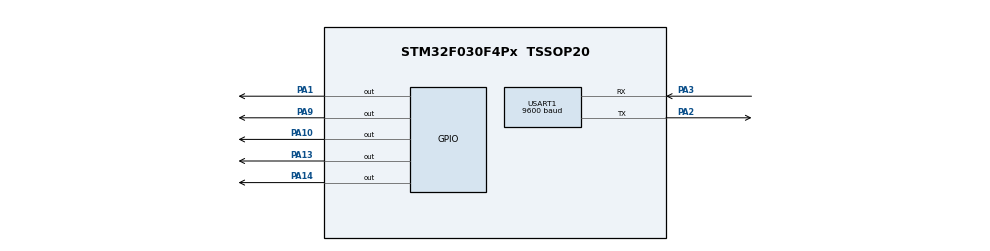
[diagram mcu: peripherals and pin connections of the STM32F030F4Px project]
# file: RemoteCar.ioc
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Mcu.Family=STM32F0
Mcu.Name=STM32F030F4Px
Mcu.Package=TSSOP20
PA1.Signal=GPIO_Output
PA10.Signal=GPIO_Output
PA13.Signal=GPIO_Output
PA14.Signal=GPIO_Output
PA2.Mode=Asynchronous
PA2.Signal=USART1_TX
PA3.Mode=Asynchronous
PA3.Signal=USART1_RX
PA9.Signal=GPIO_Output
ProjectManager.HeapSize=0x200
ProjectManager.StackSize=0x400
ProjectManager.TargetToolchain=SW4STM32
USART1.BaudRate=9600
USART1.Mode=MODE_RX
USART1.VirtualMode-Asynchronous=VM_ASYNC
board=custom

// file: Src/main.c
/* USER CODE BEGIN Header */
/**
 ******************************************************************************
 * @file           : main.c
 * @brief          : Main program body
 ******************************************************************************
 ** This notice applies to any and all portions of this file
 * that are not between comment pairs USER CODE BEGIN and
 * USER CODE END. Other portions of this file, whether
 * inserted by the user or by software development tools
 * are owned by their respective copyright owners.
 *
 * COPYRIGHT(c) 2018 STMicroelectronics
 *
 * Redistribution and use in source and binary forms, with or without modification,
 * are permitted provided that the following conditions are met:
 *   1. Redistributions of source code must retain the above copyright notice,
 *      this list of conditions and the following disclaimer.
 *   2. Redistributions in binary form must reproduce the above copyright notice,
 *      this list of conditions and the following disclaimer in the documentation
 *      and/or other materials provided with the distribution.
 *   3. Neither the name of STMicroelectronics nor the names of its contributors
 *      may be used to endorse or promote products derived from this software
 *      without specific prior written permission.
 *
 * THIS SOFTWARE IS PROVIDED BY THE COPYRIGHT HOLDERS AND CONTRIBUTORS "AS IS"
 * AND ANY EXPRESS OR IMPLIED WARRANTIES, INCLUDING, BUT NOT LIMITED TO, THE
 * IMPLIED WARRANTIES OF MERCHANTABILITY AND FITNESS FOR A PARTICULAR PURPOSE ARE
 * DISCLAIMED. IN NO EVENT SHALL THE COPYRIGHT HOLDER OR CONTRIBUTORS BE LIABLE
 * FOR ANY DIRECT, INDIRECT, INCIDENTAL, SPECIAL, EXEMPLARY, OR CONSEQUENTIAL
 * DAMAGES (INCLUDING, BUT NOT LIMITED TO, PROCUREMENT OF SUBSTITUTE GOODS OR
 * SERVICES; LOSS OF USE, DATA, OR PROFITS; OR BUSINESS INTERRUPTION) HOWEVER
 * CAUSED AND ON ANY THEORY OF LIABILITY, WHETHER IN CONTRACT, STRICT LIABILITY,
 * OR TORT (INCLUDING NEGLIGENCE OR OTHERWISE) ARISING IN ANY WAY OUT OF THE USE
 * OF THIS SOFTWARE, EVEN IF ADVISED OF THE POSSIBILITY OF SUCH DAMAGE.
 *
 ******************************************************************************
 */
/* USER CODE END Header */

#include "main.h"

/* USER CODE BEGIN PD */
#define fwd HAL_GPIO_WritePin(GPIOA, GPIO_PIN_14, 0);
#define rev HAL_GPIO_WritePin(GPIOA, GPIO_PIN_13, 0);
#define lft HAL_GPIO_WritePin(GPIOA, GPIO_PIN_10, 0);
#define rig HAL_GPIO_WritePin(GPIOA, GPIO_PIN_9, 0);

#define nfwd HAL_GPIO_WritePin(GPIOA, GPIO_PIN_14, 1);
#define nrev HAL_GPIO_WritePin(GPIOA, GPIO_PIN_13, 1);
#define nlft HAL_GPIO_WritePin(GPIOA, GPIO_PIN_10, 1);
#define nrig HAL_GPIO_WritePin(GPIOA, GPIO_PIN_9, 1);

/* USER CODE END PD */

UART_HandleTypeDef huart1;

/* USER CODE BEGIN PV */
uint8_t command;
uint8_t  i = 1;
/* USER CODE END PV */

void SystemClock_Config(void);
static void MX_GPIO_Init(void);
static void MX_USART1_UART_Init(void);

/* USER CODE BEGIN 0 */
void receive_command(void) {
	if (__HAL_UART_GET_FLAG(&huart1, UART_FLAG_RXNE) == SET) {
		HAL_UART_Receive(&huart1, &command, 1, 100);
		i = 1;
	}
}
/* USER CODE END 0 */

int main(void)
{

  /* MCU Configuration--------------------------------------------------------*/

  /* Reset of all peripherals, Initializes the Flash interface and the Systick. */
  HAL_Init();

  /* Configure the system clock */
  SystemClock_Config();

  /* Initialize all configured peripherals */
  MX_GPIO_Init();
  MX_USART1_UART_Init();
  /* USER CODE BEGIN 2 */
	nfwd
	;
	nrev
	;
	nlft
	;
	nrig
	;
  /* USER CODE END 2 */

  /* Infinite loop */
  /* USER CODE BEGIN WHILE */
	while (1) {
		i++;
		if(i>500){
			i = 1;
			//command = 0;
		}
		HAL_GPIO_WritePin(GPIOA, GPIO_PIN_1, GPIO_PIN_SET);
		receive_command();
		switch (command) {
		case 'W':
			fwd
			;
			break;
		case 'S':
			rev
			;
			break;
		case 'A':
			lft
			;
			break;
		case 'D':
			rig
			;
			break;
		case 'w':
			nfwd
			;
			break;
		case 's':
			nrev
			;
			break;

		case 'a':
			nlft
			;
			break;
		case 'd':
			nrig

			;
			break;
		case 0:
			nfwd
			;
			nrev
			;
			nlft
			;
			nrig
			;
			break;
		}
    /* USER CODE END WHILE */

	}
}

void SystemClock_Config(void)
{
  RCC_OscInitTypeDef RCC_OscInitStruct = {0};
  RCC_ClkInitTypeDef RCC_ClkInitStruct = {0};
  RCC_PeriphCLKInitTypeDef PeriphClkInit = {0};

  /** Initializes the CPU, AHB and APB busses clocks
  */
  RCC_OscInitStruct.OscillatorType = RCC_OSCILLATORTYPE_HSI;
  RCC_OscInitStruct.HSIState = RCC_HSI_ON;
  RCC_OscInitStruct.HSICalibrationValue = RCC_HSICALIBRATION_DEFAULT;
  RCC_OscInitStruct.PLL.PLLState = RCC_PLL_NONE;
  if (HAL_RCC_OscConfig(&RCC_OscInitStruct) != HAL_OK)
  {
    Error_Handler();
  }
  /** Initializes the CPU, AHB and APB busses clocks
  */
  RCC_ClkInitStruct.ClockType = RCC_CLOCKTYPE_HCLK|RCC_CLOCKTYPE_SYSCLK
                              |RCC_CLOCKTYPE_PCLK1;
  RCC_ClkInitStruct.SYSCLKSource = RCC_SYSCLKSOURCE_HSI;
  RCC_ClkInitStruct.AHBCLKDivider = RCC_SYSCLK_DIV1;
  RCC_ClkInitStruct.APB1CLKDivider = RCC_HCLK_DIV1;

  if (HAL_RCC_ClockConfig(&RCC_ClkInitStruct, FLASH_LATENCY_0) != HAL_OK)
  {
    Error_Handler();
  }
  PeriphClkInit.PeriphClockSelection = RCC_PERIPHCLK_USART1;
  PeriphClkInit.Usart1ClockSelection = RCC_USART1CLKSOURCE_PCLK1;
  if (HAL_RCCEx_PeriphCLKConfig(&PeriphClkInit) != HAL_OK)
  {
    Error_Handler();
  }
}

static void MX_USART1_UART_Init(void)
{

  huart1.Instance = USART1;
  huart1.Init.BaudRate = 9600;
  huart1.Init.WordLength = UART_WORDLENGTH_8B;
  huart1.Init.StopBits = UART_STOPBITS_1;
  huart1.Init.Parity = UART_PARITY_NONE;
  huart1.Init.Mode = UART_MODE_RX;
  huart1.Init.HwFlowCtl = UART_HWCONTROL_NONE;
  huart1.Init.OverSampling = UART_OVERSAMPLING_16;
  huart1.Init.OneBitSampling = UART_ONE_BIT_SAMPLE_DISABLE;
  huart1.AdvancedInit.AdvFeatureInit = UART_ADVFEATURE_NO_INIT;
  if (HAL_UART_Init(&huart1) != HAL_OK)
  {
    Error_Handler();
  }

}

static void MX_GPIO_Init(void)
{
  GPIO_InitTypeDef GPIO_InitStruct = {0};

  /* GPIO Ports Clock Enable */
  __HAL_RCC_GPIOA_CLK_ENABLE();

  /*Configure GPIO pin Output Level */
  HAL_GPIO_WritePin(GPIOA, GPIO_PIN_1|GPIO_PIN_9|GPIO_PIN_10|GPIO_PIN_13
                          |GPIO_PIN_14, GPIO_PIN_RESET);

  /*Configure GPIO pins : PA1 PA9 PA10 PA13
                           PA14 */
  GPIO_InitStruct.Pin = GPIO_PIN_1|GPIO_PIN_9|GPIO_PIN_10|GPIO_PIN_13
                          |GPIO_PIN_14;
  GPIO_InitStruct.Mode = GPIO_MODE_OUTPUT_PP;
  GPIO_InitStruct.Pull = GPIO_NOPULL;
  GPIO_InitStruct.Speed = GPIO_SPEED_FREQ_LOW;
  HAL_GPIO_Init(GPIOA, &GPIO_InitStruct);

}

void Error_Handler(void)
{
}

/************************ (C) COPYRIGHT STMicroelectronics *****END OF FILE****/
